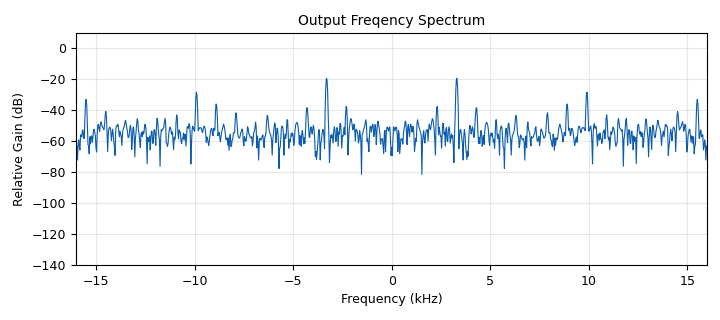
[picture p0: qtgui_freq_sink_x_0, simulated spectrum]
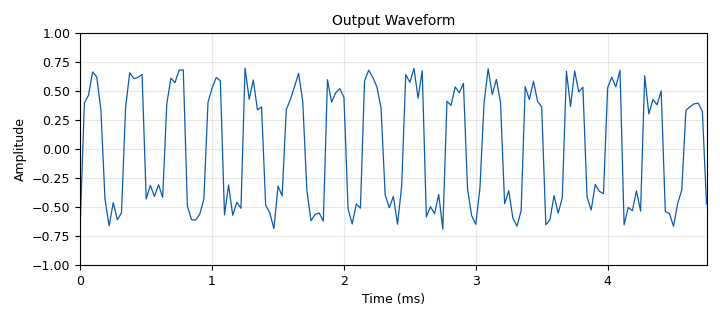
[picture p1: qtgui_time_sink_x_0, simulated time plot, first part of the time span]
<?xml version='1.0' encoding='utf-8'?>
<?grc format='1' created='3.7.13'?>
<flow_graph>
<block>
<key>options</key>
<param><key>id</key><value>top_block</value></param>
<param><key>generate_options</key><value>qt_gui</value></param>
</block>
<block>
<key>variable</key>
<param><key>id</key><value>samp_rate</value></param>
<param><key>value</key><value>32000</value></param>
</block>
<block>
<key>analog_noise_source_x</key>
<param><key>id</key><value>analog_noise_source_x_0</value></param>
<param><key>amp</key><value>0.2</value></param>
<param><key>noise_type</key><value>analog.GR_UNIFORM</value></param>
<param><key>type</key><value>float</value></param>
<param><key>seed</key><value>0</value></param>
</block>
<block>
<key>analog_sig_source_x</key>
<param><key>id</key><value>analog_sig_source_x_0</value></param>
<param><key>amp</key><value>1</value></param>
<param><key>freq</key><value>3300</value></param>
<param><key>offset</key><value>-0.5</value></param>
<param><key>type</key><value>float</value></param>
<param><key>samp_rate</key><value>samp_rate</value></param>
<param><key>waveform</key><value>analog.GR_SQR_WAVE</value></param>
</block>
<block>
<key>analog_sig_source_x</key>
<param><key>id</key><value>analog_sig_source_x_1</value></param>
<param><key>amp</key><value>1</value></param>
<param><key>freq</key><value>1000</value></param>
<param><key>offset</key><value>0</value></param>
<param><key>type</key><value>float</value></param>
<param><key>samp_rate</key><value>samp_rate</value></param>
<param><key>waveform</key><value>analog.GR_SAW_WAVE</value></param>
</block>
<block>
<key>audio_sink</key>
<param><key>id</key><value>audio_sink_0</value></param>
<param><key>samp_rate</key><value>samp_rate</value></param>
</block>
<block>
<key>audio_source</key>
<param><key>id</key><value>audio_source_0</value></param>
<param><key>samp_rate</key><value>samp_rate</value></param>
</block>
<block>
<key>blocks_add_xx</key>
<param><key>id</key><value>blocks_add_xx_0</value></param>
<param><key>type</key><value>float</value></param>
</block>
<block>
<key>blocks_throttle</key>
<param><key>id</key><value>blocks_throttle_0</value></param>
<param><key>samples_per_second</key><value>samp_rate</value></param>
<param><key>type</key><value>float</value></param>
</block>
<block>
<key>blocks_throttle</key>
<param><key>id</key><value>blocks_throttle_1</value></param>
<param><key>samples_per_second</key><value>samp_rate</value></param>
<param><key>type</key><value>float</value></param>
</block>
<block>
<key>blocks_throttle</key>
<param><key>id</key><value>blocks_throttle_2</value></param>
<param><key>samples_per_second</key><value>samp_rate</value></param>
<param><key>type</key><value>float</value></param>
</block>
<block>
<key>blocks_udp_sink</key>
<param><key>id</key><value>blocks_udp_sink_0</value></param>
<param><key>ipaddr</key><value>127.0.0.1</value></param>
<param><key>port</key><value>9008</value></param>
<param><key>type</key><value>float</value></param>
<param><key>psize</key><value>1472</value></param>
<param><key>eof</key><value>True</value></param>
<param><key>vlen</key><value>1</value></param>
</block>
<block>
<key>blocks_udp_source</key>
<param><key>id</key><value>blocks_udp_source_0</value></param>
<param><key>ipaddr</key><value>127.0.0.1</value></param>
<param><key>eof</key><value>True</value></param>
<param><key>type</key><value>float</value></param>
<param><key>psize</key><value>1472</value></param>
<param><key>port</key><value>9008</value></param>
<param><key>vlen</key><value>1</value></param>
</block>
<block>
<key>qtgui_freq_sink_x</key>
<param><key>id</key><value>qtgui_freq_sink_x_0</value></param>
<param><key>bw</key><value>samp_rate</value></param>
<param><key>fc</key><value>0</value></param>
<param><key>fftsize</key><value>1024</value></param>
<param><key>name</key><value>"Output Freqency Spectrum"</value></param>
<param><key>showports</key><value>True</value></param>
<param><key>type</key><value>float</value></param>
<param><key>wintype</key><value>firdes.WIN_BLACKMAN_hARRIS</value></param>
</block>
<block>
<key>qtgui_freq_sink_x</key>
<param><key>id</key><value>qtgui_freq_sink_x_1</value></param>
<param><key>bw</key><value>samp_rate</value></param>
<param><key>fc</key><value>0</value></param>
<param><key>fftsize</key><value>1024</value></param>
<param><key>name</key><value>"Audio Frequency Spectrum"</value></param>
<param><key>showports</key><value>True</value></param>
<param><key>type</key><value>float</value></param>
<param><key>wintype</key><value>firdes.WIN_BLACKMAN_hARRIS</value></param>
</block>
<block>
<key>qtgui_freq_sink_x</key>
<param><key>id</key><value>qtgui_freq_sink_x_2</value></param>
<param><key>bw</key><value>samp_rate</value></param>
<param><key>fc</key><value>0</value></param>
<param><key>fftsize</key><value>1024</value></param>
<param><key>name</key><value>"Received UDP Frequency Spectrum"</value></param>
<param><key>showports</key><value>True</value></param>
<param><key>type</key><value>float</value></param>
<param><key>wintype</key><value>firdes.WIN_BLACKMAN_hARRIS</value></param>
</block>
<block>
<key>qtgui_time_sink_x</key>
<param><key>id</key><value>qtgui_time_sink_x_0</value></param>
<param><key>color1</key><value>"blue"</value></param>
<param><key>label1</key><value></value></param>
<param><key>name</key><value>"Output Waveform"</value></param>
<param><key>size</key><value>1024</value></param>
<param><key>srate</key><value>samp_rate</value></param>
<param><key>type</key><value>float</value></param>
</block>
<block>
<key>qtgui_time_sink_x</key>
<param><key>id</key><value>qtgui_time_sink_x_1</value></param>
<param><key>color1</key><value>"blue"</value></param>
<param><key>label1</key><value></value></param>
<param><key>name</key><value>"Audio Waveform"</value></param>
<param><key>size</key><value>1024</value></param>
<param><key>srate</key><value>samp_rate</value></param>
<param><key>type</key><value>float</value></param>
</block>
<block>
<key>qtgui_time_sink_x</key>
<param><key>id</key><value>qtgui_time_sink_x_2</value></param>
<param><key>color1</key><value>"blue"</value></param>
<param><key>label1</key><value></value></param>
<param><key>name</key><value>"Received UDP Time Domain Waveform"</value></param>
<param><key>size</key><value>1024</value></param>
<param><key>srate</key><value>samp_rate</value></param>
<param><key>type</key><value>float</value></param>
</block>
<block>
<key>qtgui_waterfall_sink_x</key>
<param><key>id</key><value>qtgui_waterfall_sink_x_0</value></param>
<param><key>bw</key><value>samp_rate</value></param>
<param><key>fc</key><value>0</value></param>
<param><key>fftsize</key><value>1024</value></param>
<param><key>showports</key><value>True</value></param>
<param><key>type</key><value>float</value></param>
<param><key>wintype</key><value>firdes.WIN_BLACKMAN_hARRIS</value></param>
</block>
<connection><source_block_id>analog_noise_source_x_0</source_block_id><sink_block_id>blocks_add_xx_0</sink_block_id><source_key>0</source_key><sink_key>0</sink_key></connection>
<connection><source_block_id>analog_sig_source_x_0</source_block_id><sink_block_id>blocks_add_xx_0</sink_block_id><source_key>0</source_key><sink_key>1</sink_key></connection>
<connection><source_block_id>analog_sig_source_x_1</source_block_id><sink_block_id>blocks_throttle_2</sink_block_id><source_key>0</source_key><sink_key>0</sink_key></connection>
<connection><source_block_id>audio_source_0</source_block_id><sink_block_id>blocks_throttle_0</sink_block_id><source_key>0</source_key><sink_key>0</sink_key></connection>
<connection><source_block_id>blocks_add_xx_0</source_block_id><sink_block_id>blocks_throttle_1</sink_block_id><source_key>0</source_key><sink_key>0</sink_key></connection>
<connection><source_block_id>blocks_throttle_0</source_block_id><sink_block_id>audio_sink_0</sink_block_id><source_key>0</source_key><sink_key>0</sink_key></connection>
<connection><source_block_id>blocks_throttle_0</source_block_id><sink_block_id>qtgui_freq_sink_x_1</sink_block_id><source_key>0</source_key><sink_key>0</sink_key></connection>
<connection><source_block_id>blocks_throttle_0</source_block_id><sink_block_id>qtgui_time_sink_x_1</sink_block_id><source_key>0</source_key><sink_key>0</sink_key></connection>
<connection><source_block_id>blocks_throttle_0</source_block_id><sink_block_id>qtgui_waterfall_sink_x_0</sink_block_id><source_key>0</source_key><sink_key>0</sink_key></connection>
<connection><source_block_id>blocks_throttle_1</source_block_id><sink_block_id>qtgui_freq_sink_x_0</sink_block_id><source_key>0</source_key><sink_key>0</sink_key></connection>
<connection><source_block_id>blocks_throttle_1</source_block_id><sink_block_id>qtgui_time_sink_x_0</sink_block_id><source_key>0</source_key><sink_key>0</sink_key></connection>
<connection><source_block_id>blocks_throttle_2</source_block_id><sink_block_id>blocks_udp_sink_0</sink_block_id><source_key>0</source_key><sink_key>0</sink_key></connection>
<connection><source_block_id>blocks_udp_source_0</source_block_id><sink_block_id>qtgui_freq_sink_x_2</sink_block_id><source_key>0</source_key><sink_key>0</sink_key></connection>
<connection><source_block_id>blocks_udp_source_0</source_block_id><sink_block_id>qtgui_time_sink_x_2</sink_block_id><source_key>0</source_key><sink_key>0</sink_key></connection>
</flow_graph>
